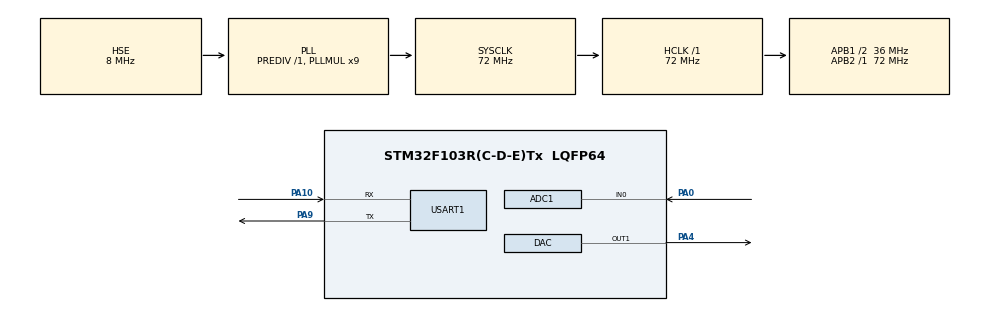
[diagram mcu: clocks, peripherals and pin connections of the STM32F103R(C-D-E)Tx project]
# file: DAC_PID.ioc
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ADC1.Channel-0\#ChannelRegularConversion=ADC_CHANNEL_0
ADC1.ContinuousConvMode=ENABLE
ADC1.NbrOfConversionFlag=1
ADC1.Rank-0\#ChannelRegularConversion=1
ADC1.SamplingTime-0\#ChannelRegularConversion=ADC_SAMPLETIME_55CYCLES_5
ADC1.master=1
Dma.ADC1.0.Direction=DMA_PERIPH_TO_MEMORY
Dma.ADC1.0.Instance=DMA1_Channel1
Dma.ADC1.0.MemDataAlignment=DMA_MDATAALIGN_HALFWORD
Dma.ADC1.0.MemInc=DMA_MINC_ENABLE
Dma.ADC1.0.Mode=DMA_CIRCULAR
Dma.ADC1.0.PeriphDataAlignment=DMA_PDATAALIGN_HALFWORD
Dma.ADC1.0.PeriphInc=DMA_PINC_DISABLE
Dma.ADC1.0.Priority=DMA_PRIORITY_HIGH
Dma.Request0=ADC1
Mcu.Family=STM32F1
Mcu.Name=STM32F103R(C-D-E)Tx
Mcu.Package=LQFP64
NVIC.DMA1_Channel1_IRQn=true\:0\:0\:false\:false\:true\:false\:true
NVIC.PriorityGroup=NVIC_PRIORITYGROUP_4
PA0-WKUP.Signal=ADCx_IN0
PA10.Mode=Asynchronous
PA10.Signal=USART1_RX
PA13.Mode=Serial_Wire
PA13.Signal=SYS_JTMS-SWDIO
PA14.Mode=Serial_Wire
PA14.Signal=SYS_JTCK-SWCLK
PA4.Signal=COMP_DAC1_group
PA9.Mode=Asynchronous
PA9.Signal=USART1_TX
PD0-OSC_IN.Mode=HSE-External-Oscillator
PD0-OSC_IN.Signal=RCC_OSC_IN
PD1-OSC_OUT.Mode=HSE-External-Oscillator
PD1-OSC_OUT.Signal=RCC_OSC_OUT
ProjectManager.HeapSize=0x200
ProjectManager.StackSize=0x400
ProjectManager.TargetToolchain=MDK-ARM V5.32
RCC.ADCPresc=RCC_ADCPCLK2_DIV6
RCC.AHBFreq_Value=72000000
RCC.APB1CLKDivider=RCC_HCLK_DIV2
RCC.APB1Freq_Value=36000000
RCC.APB1TimFreq_Value=72000000
RCC.APB2Freq_Value=72000000
RCC.APB2TimFreq_Value=72000000
RCC.HCLKFreq_Value=72000000
RCC.PLLMUL=RCC_PLL_MUL9
RCC.PLLSourceVirtual=RCC_PLLSOURCE_HSE
RCC.SYSCLKFreq_VALUE=72000000
RCC.SYSCLKSource=RCC_SYSCLKSOURCE_PLLCLK
RCC.USBFreq_Value=72000000
SH.ADCx_IN0.0=ADC1_IN0,IN0
SH.COMP_DAC1_group.0=DAC_OUT1,DAC_OUT1
USART1.VirtualMode=VM_ASYNC
board=custom

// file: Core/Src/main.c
/* USER CODE BEGIN Header */
/**
  ******************************************************************************
  * @file           : main.c
  * @brief          : Main program body
  ******************************************************************************
  * @attention
  *
  * Copyright (c) 2023 STMicroelectronics.
  * All rights reserved.
  *
  * This software is licensed under terms that can be found in the LICENSE file
  * in the root directory of this software component.
  * If no LICENSE file comes with this software, it is provided AS-IS.
  *
  ******************************************************************************
  */
/* USER CODE END Header */
#include "main.h"
#include "adc.h"
#include "dac.h"
#include "dma.h"
#include "usart.h"
#include "gpio.h"

/* USER CODE BEGIN Includes */
#include "stdio.h"
#include "pid.h"
#include "DataScope_DP.h"
/* USER CODE END Includes */

/* USER CODE BEGIN PTD */
#define ADC_Channel_MAX 2
/* USER CODE END PTD */

/* USER CODE BEGIN PV */
uint16_t ADC_DMA_Value[ADC_Channel_MAX];  // DMA得到ADC的值
uint16_t ADC_Value = 0;
uint16_t DAC_Value = 0;

unsigned char i;          										 //计数变量
unsigned char Send_Count; 										 //串口需要发送的字节数
/* USER CODE END PV */

void SystemClock_Config(void);

/* USER CODE BEGIN 0 */

/**
  * 函数功能: 重定向c库函数printf到DEBUG_USARTx
  * 输入参数: 无
  * 返 回 值: 无
  * 说    明：无
  */
int fputc(int ch, FILE *f)
{
  HAL_UART_Transmit(&huart1, (uint8_t *)&ch, 1, 0xffff);
  return ch;
}

/**
  * 函数功能: 重定向c库函数getchar,scanf到DEBUG_USARTx
  * 输入参数: 无
  * 返 回 值: 无
  * 说    明：无
  */
int fgetc(FILE *f)
{
  uint8_t ch = 0;
  HAL_UART_Receive(&huart1, &ch, 1, 0xffff);
  return ch;
}

/* USER CODE END 0 */

int main(void)
{

  /* MCU Configuration--------------------------------------------------------*/

  /* Reset of all peripherals, Initializes the Flash interface and the Systick. */
  HAL_Init();

  /* Configure the system clock */
  SystemClock_Config();

  /* Initialize all configured peripherals */
  MX_GPIO_Init();
  MX_DMA_Init();
  MX_ADC1_Init();
  MX_DAC_Init();
  MX_USART1_UART_Init();
  /* USER CODE BEGIN 2 */
 HAL_ADCEx_Calibration_Start(&hadc1);  // f1系列需要ADC校准，f4不需要
  HAL_ADC_Start_DMA(&hadc1,(uint32_t *)&ADC_DMA_Value,ADC_Channel_MAX); // 启动ADC的DMA转换
  PID_init();
  /* USER CODE END 2 */

  /* Infinite loop */
  while (1)
  {
      HAL_DAC_SetValue(&hdac, DAC_CHANNEL_1, DAC_ALIGN_12B_R, DAC_Value); // 设置DAC数值
	  HAL_DAC_Start(&hdac,DAC_CHANNEL_1);   // 开启DAC输出
	  ADC_Value = ADC_DMA_Value[0];
	  printf("%0.2f\r\n", ADC_Value*3.3/4096);

	  //测试代码
//			DataScope_Get_Channel_Data(ADC_Value*3.3/4096*100, 3 );
//			Send_Count=DataScope_Data_Generate(3);
//			for( i = 0 ; i < Send_Count; i++)
//			{
//			while((USART1->SR&0X40)==0);
//			USART1->DR = DataScope_OutPut_Buffer[i];
//			}

	  // 这里设置输出1.65V
	  DAC_Value = DAC_Value + PID_realize(2048, ADC_Value);
	  HAL_Delay(100);

  }
}

void SystemClock_Config(void)
{
  RCC_OscInitTypeDef RCC_OscInitStruct = {0};
  RCC_ClkInitTypeDef RCC_ClkInitStruct = {0};
  RCC_PeriphCLKInitTypeDef PeriphClkInit = {0};

  /** Initializes the RCC Oscillators according to the specified parameters
  * in the RCC_OscInitTypeDef structure.
  */
  RCC_OscInitStruct.OscillatorType = RCC_OSCILLATORTYPE_HSE;
  RCC_OscInitStruct.HSEState = RCC_HSE_ON;
  RCC_OscInitStruct.HSEPredivValue = RCC_HSE_PREDIV_DIV1;
  RCC_OscInitStruct.HSIState = RCC_HSI_ON;
  RCC_OscInitStruct.PLL.PLLState = RCC_PLL_ON;
  RCC_OscInitStruct.PLL.PLLSource = RCC_PLLSOURCE_HSE;
  RCC_OscInitStruct.PLL.PLLMUL = RCC_PLL_MUL9;
  if (HAL_RCC_OscConfig(&RCC_OscInitStruct) != HAL_OK)
  {
    Error_Handler();
  }
  /** Initializes the CPU, AHB and APB buses clocks
  */
  RCC_ClkInitStruct.ClockType = RCC_CLOCKTYPE_HCLK|RCC_CLOCKTYPE_SYSCLK
                              |RCC_CLOCKTYPE_PCLK1|RCC_CLOCKTYPE_PCLK2;
  RCC_ClkInitStruct.SYSCLKSource = RCC_SYSCLKSOURCE_PLLCLK;
  RCC_ClkInitStruct.AHBCLKDivider = RCC_SYSCLK_DIV1;
  RCC_ClkInitStruct.APB1CLKDivider = RCC_HCLK_DIV2;
  RCC_ClkInitStruct.APB2CLKDivider = RCC_HCLK_DIV1;

  if (HAL_RCC_ClockConfig(&RCC_ClkInitStruct, FLASH_LATENCY_2) != HAL_OK)
  {
    Error_Handler();
  }
  PeriphClkInit.PeriphClockSelection = RCC_PERIPHCLK_ADC;
  PeriphClkInit.AdcClockSelection = RCC_ADCPCLK2_DIV6;
  if (HAL_RCCEx_PeriphCLKConfig(&PeriphClkInit) != HAL_OK)
  {
    Error_Handler();
  }
}

void Error_Handler(void)
{
  __disable_irq();
  while (1)
  {
  }
}
